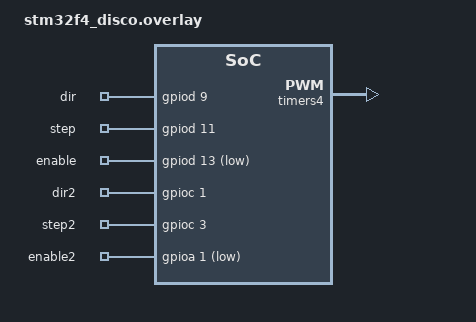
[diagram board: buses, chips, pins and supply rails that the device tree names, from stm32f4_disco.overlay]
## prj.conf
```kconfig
CONFIG_GPIO=y
CONFIG_PWM=y

CONFIG_TRACING=y
CONFIG_SEGGER_SYSTEMVIEW=y
```

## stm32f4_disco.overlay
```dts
/ {
 
    gpio-pins {
        compatible = "gpio-keys";
        dir: pc10 {
            gpios = <&gpiod 9 GPIO_ACTIVE_HIGH>;
        };
        step: pc11 {
            gpios = <&gpiod 11 GPIO_ACTIVE_HIGH>;
        };
        enable: pe5 {
            gpios = <&gpiod 13 GPIO_ACTIVE_LOW>;
            //change
        }; 

        dir2: pb6 {
            gpios = <&gpioc 1 GPIO_ACTIVE_HIGH>;
        };
        step2: pb7 {
            gpios = <&gpioc 3 GPIO_ACTIVE_HIGH>;
        }; 
        enable2: pb9 {
            gpios = <&gpioa 1 GPIO_ACTIVE_LOW>;
        }; 
    };

};

&timers4 {
    status = "okay";
    st,prescaler = <30000>;
    pwm1: pwm {
        status = "okay";
        pinctrl-0 = <&tim4_ch1_pd12>;
        pinctrl-names = "default";
    };
};
```

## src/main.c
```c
/*
 * Copyright (c) 2016 Intel Corporation
 *
 * SPDX-License-Identifier: Apache-2.0
 */

#include <zephyr/kernel.h>
#include <zephyr/device.h>
#include <zephyr/drivers/gpio.h>
#include <zephyr/drivers/pwm.h>
#include <zephyr/devicetree.h>

#include "SEGGER_RTT_printf.c"

#define DOWN 1
#define UP 0
#define RIGHT 1 
#define LEFT 0

const struct gpio_dt_spec dir_spec_ver = GPIO_DT_SPEC_GET(DT_NODELABEL(dir), gpios);
const struct gpio_dt_spec step_spec_ver = GPIO_DT_SPEC_GET(DT_NODELABEL(step), gpios);
const struct gpio_dt_spec enable_ver = GPIO_DT_SPEC_GET(DT_NODELABEL(enable), gpios);

const struct gpio_dt_spec dir_spec_hor = GPIO_DT_SPEC_GET(DT_NODELABEL(dir2), gpios);
const struct gpio_dt_spec step_spec_hor = GPIO_DT_SPEC_GET(DT_NODELABEL(step2), gpios);
const struct gpio_dt_spec enable_hor = GPIO_DT_SPEC_GET(DT_NODELABEL(enable2), gpios);

void hor_move(void){
    gpio_pin_set_dt(&dir_spec_hor, RIGHT);
    while (1){
        for(int i = 0; i<25200; i++){
            gpio_pin_set_dt(&step_spec_hor, 1);
            k_usleep(900);
            gpio_pin_set_dt(&step_spec_hor, 0);
            k_usleep(900);
            SEGGER_RTT_printf(0, "step count: %d\n", i);
        }
        gpio_pin_toggle_dt(&dir_spec_hor);
        k_msleep(2000);
    }
}

void ver_move(void){
    gpio_pin_set_dt(&dir_spec_ver, UP);
    while (1){
        for(int i = 0; i<2000; i++){
            gpio_pin_set_dt(&step_spec_ver, 1);
            k_usleep(20);
            gpio_pin_set_dt(&step_spec_ver, 0);
            k_usleep(20);
            //SEGGER_RTT_printf(0, "step count: %d\n", i);
        }
        gpio_pin_toggle_dt(&dir_spec_ver);
        k_msleep(200);
    }
}

K_THREAD_DEFINE(hor_motor, 2048, hor_move, NULL, NULL, NULL, -3, 0, -1);
K_THREAD_DEFINE(ver_motor, 2048, ver_move, NULL, NULL, NULL, -3, 0, -1);


void main(void){

    gpio_pin_configure_dt(&dir_spec_ver, GPIO_OUTPUT_INACTIVE);
    gpio_pin_configure_dt(&step_spec_ver, GPIO_OUTPUT_INACTIVE);
    gpio_pin_configure_dt(&enable_ver, GPIO_OUTPUT_ACTIVE);

    gpio_pin_configure_dt(&dir_spec_hor, GPIO_OUTPUT_INACTIVE);
    gpio_pin_configure_dt(&step_spec_hor, GPIO_OUTPUT_INACTIVE);
    gpio_pin_configure_dt(&enable_hor, GPIO_OUTPUT_ACTIVE);

    k_msleep(500);

    k_thread_start(hor_motor);
    //k_thread_start(ver_motor);

}
```
